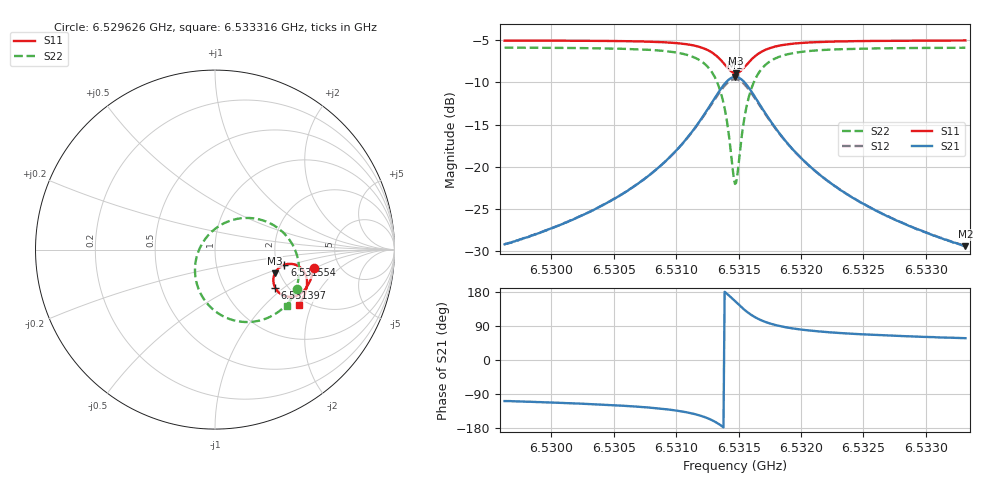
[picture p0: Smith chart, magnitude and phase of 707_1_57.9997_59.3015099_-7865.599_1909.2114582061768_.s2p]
#  HZ  S  RI  R  50.00
! Rohde & Schwarz Vector Network Analyzer
! Rohde-Schwarz,ZNB20-2Port,1311601062101988,3.16
! Created: UTC 3/21/2024, 1:22:00 AM
! freq[Hz]  re:S11  im:S11  re:S21  im:S21  re:S12  im:S12  re:S22  im:S22
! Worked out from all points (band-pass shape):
!   401 points, 6.529626 GHz to 6.533316 GHz, reference 50 ohm
!   highest |S21| = -9.33 dB at 6.531471 GHz (marker M1); lowest = -29.4 dB at 6.533316 GHz (marker M2)
!   |S21| within 3 dB of the highest: 6.531288 GHz to 6.531657 GHz (369.1 kHz wide, 0.00565 % of centre)
!   lowest |S11| = -8.9 dB at 6.53148 GHz (marker M3), VSWR 2.12, Z = 94.3 - j28.7 ohm
!   |S11| at or under -10 dB: nowhere
!   |S22| runs from -22.1 to -5.9 dB; largest |S21 - S12| = 0.014
!   S11 on the Smith chart (normalised r, x): 6.529626 GHz: 3.24, -0.96; 6.531397 GHz: 1.73, -0.88; 6.531554 GHz: 2.20, -0.44; 6.533316 GHz: 1.82, -1.64
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6.5296258e9  0.5509 -0.1017  -0.0109 -0.0329  -0.0115 -0.0326  0.4584 -0.2211
6.5302439e9  0.5374 -0.1541  -0.0219 -0.0464  -0.0231 -0.0459  0.4218 -0.2795
6.5305945e9  0.5235 -0.1879  -0.0365 -0.0605  -0.0383 -0.0596  0.3835 -0.3217
6.530862e9  0.5046 -0.2181  -0.061 -0.0783  -0.0634 -0.0765  0.3287 -0.363
6.5310835e9  0.4723 -0.2477  -0.1091 -0.0982  -0.112 -0.094  0.2325 -0.3989
6.5312403e9  0.4216 -0.2633  -0.1882 -0.0992  -0.1899 -0.0909  0.0898 -0.3898
6.5313326e9  0.3713 -0.2506  -0.2652 -0.0605  -0.2623 -0.0493  -0.0357 -0.3092
6.5313695e9  0.3494 -0.2332  -0.297 -0.0242  -0.2908 -0.0126  -0.0818 -0.2417
6.5313971e9  0.3355 -0.2134  -0.3157 0.0137  -0.3066 0.0241  -0.1049 -0.1753
6.5314525e9  0.3256 -0.1602  -0.3212 0.1097  -0.3081 0.1147  -0.0952 -0.017
6.5314709e9  0.3299 -0.1413  -0.3103 0.1424  -0.2969 0.1451  -0.0711 0.0344
6.5314802e9  0.3335 -0.1323  -0.3024 0.158  -0.2892 0.1595  -0.0554 0.0581
6.5314986e9  0.3435 -0.1156  -0.2824 0.1861  -0.27 0.1853  -0.0177 0.1002
6.5315263e9  0.3635 -0.0961  -0.2447 0.2185  -0.2341 0.2154  0.0496 0.1465
6.531554e9  0.3865 -0.0843  -0.203 0.2379  -0.1948 0.2334  0.1215 0.1709
6.5316186e9  0.4368 -0.0812  -0.1151 0.242  -0.1113 0.2379  0.2685 0.1621
6.5317108e9  0.4814 -0.105  -0.0395 0.2056  -0.0378 0.2033  0.3906 0.0842
6.5318492e9  0.5067 -0.1448  0.00476 0.1501  0.00604 0.1494  0.455 -0.0259
6.5320891e9  0.5127 -0.1922  0.0219 0.0952  0.0232 0.095  0.4681 -0.1375
6.5323751e9  0.5059 -0.229  0.0234 0.064  0.0243 0.0636  0.4546 -0.2078
6.5327072e9  0.4944 -0.2611  0.0215 0.0454  0.0224 0.0451  0.4346 -0.257
6.5333161e9  0.4695 -0.308  0.0181 0.0285  0.0186 0.0282  0.3993 -0.3142
